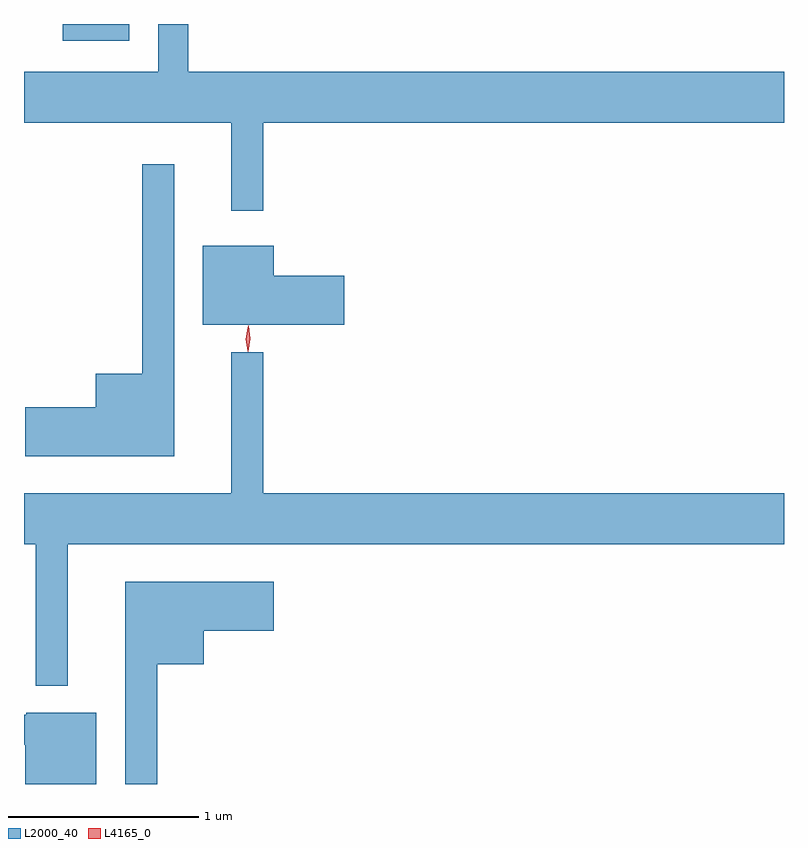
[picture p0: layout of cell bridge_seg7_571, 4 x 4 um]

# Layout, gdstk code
import gdstk
lib = gdstk.Library(unit=1e-6, precision=1e-09)
def R(c, l, rs):  # rectangles x0, y0, x1, y1
    for r in rs: c.add(gdstk.rectangle(r[:2], r[2:], *l))
def P(c, l, *ps):  # polygons
    for p in ps: c.add(gdstk.Polygon(p, *l))
L2000_40 = (2000, 40)
L4165_0 = (4165, 0)

bridge_seg7_571 = lib.new_cell('bridge_seg7_571')
R(bridge_seg7_571, L2000_40, [(788.253,1801.326,788.604,1801.415)])
P(bridge_seg7_571, L2000_40, [(789.309,1800.896),(792.049,1800.896),(792.049,1801.164),(788.914,1801.164),(788.914,1801.415),(788.756,1801.415),(788.756,1801.164),(788.049,1801.164),(788.049,1800.896),(789.141,1800.896),(789.141,1800.433),(789.309,1800.433)],
  [(788.839,1800.678),(788.671,1800.678),(788.671,1799.574),(788.426,1799.574),(788.426,1799.399),(788.056,1799.399),(788.056,1799.141),(788.839,1799.141)],
  [(789.734,1800.089),(789.364,1800.089),(789.364,1800.249),(788.991,1800.249),(788.991,1799.831),(789.734,1799.831)],
  [(788.279,1798.676),(792.049,1798.676),(792.049,1798.944),(789.309,1798.944),(789.309,1799.688),(789.141,1799.688),(789.141,1798.944),(788.049,1798.944),(788.049,1798.676),(788.111,1798.676),(788.111,1797.933),(788.279,1797.933)],
  [(788.749,1798.046),(788.994,1798.046),(788.994,1798.221),(789.364,1798.221),(789.364,1798.479),(788.581,1798.479),(788.581,1797.415),(788.749,1797.415)],
  [(788.429,1797.789),(788.06,1797.789),(788.06,1797.779),(788.049,1797.779),(788.049,1797.621),(788.056,1797.621),(788.056,1797.415),(788.429,1797.415)])
P(bridge_seg7_571, L4165_0, [(789.227,1799.693),(789.227,1799.693),(789.217,1799.756),(789.227,1799.819),(789.227,1799.82),(789.228,1799.819),(789.237,1799.756),(789.228,1799.693)],
  [(789.229,1799.69),(789.229,1799.69),(789.22,1799.758),(789.23,1799.826),(789.231,1799.826),(789.231,1799.826),(789.24,1799.758),(789.23,1799.69)])

lib.write_gds('bridge_seg7_571.gds')
